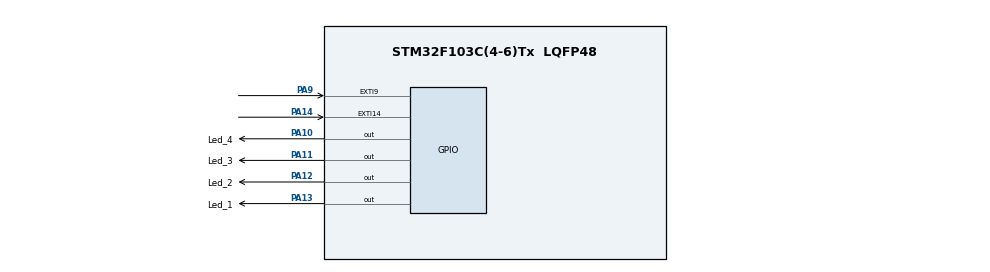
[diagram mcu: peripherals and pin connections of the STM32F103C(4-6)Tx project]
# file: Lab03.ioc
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Mcu.Family=STM32F1
Mcu.Name=STM32F103C(4-6)Tx
Mcu.Package=LQFP48
NVIC.EXTI15_10_IRQn=true\:0\:0\:false\:true\:true\:1\:true\:true
NVIC.EXTI9_5_IRQn=true\:0\:0\:false\:true\:true\:2\:true\:true
NVIC.PriorityGroup=NVIC_PRIORITYGROUP_4
PA10.GPIO_Label=Led_4
PA10.Signal=GPIO_Output
PA11.GPIO_Label=Led_3
PA11.Signal=GPIO_Output
PA12.GPIO_Label=Led_2
PA12.Signal=GPIO_Output
PA13.GPIO_Label=Led_1
PA13.Signal=GPIO_Output
PA14.GPIO_ModeDefaultEXTI=GPIO_MODE_IT_FALLING
PA14.Signal=GPXTI14
PA9.GPIO_ModeDefaultEXTI=GPIO_MODE_IT_FALLING
PA9.Signal=GPXTI9
ProjectManager.HeapSize=0x200
ProjectManager.StackSize=0x400
ProjectManager.TargetToolchain=STM32CubeIDE
RCC.APB1Freq_Value=8000000
RCC.APB2Freq_Value=8000000
VP_SYS_VS_ND.Mode=No_Debug
board=custom

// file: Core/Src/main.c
/* USER CODE BEGIN Header */
/**
  ******************************************************************************
  * @file           : main.c
  * @brief          : Main program body
  ******************************************************************************
  * @attention
  *
  * Copyright (c) 2022 STMicroelectronics.
  * All rights reserved.
  *
  * This software is licensed under terms that can be found in the LICENSE file
  * in the root directory of this software component.
  * If no LICENSE file comes with this software, it is provided AS-IS.
  *
  ******************************************************************************
  */
/* USER CODE END Header */
#include "main.h"
#include "gpio.h"

/* USER CODE BEGIN PV */
int count = 0;
/* USER CODE END PV */

void SystemClock_Config(void);
static void MX_NVIC_Init(void);

int main(void)
{

  /* MCU Configuration--------------------------------------------------------*/

  /* Reset of all peripherals, Initializes the Flash interface and the Systick. */
  HAL_Init();

  /* Configure the system clock */
  SystemClock_Config();

  /* Initialize all configured peripherals */
  MX_GPIO_Init();

  /* Initialize interrupts */
  MX_NVIC_Init();

  /* Infinite loop */
  while (1)
  {

  }
}

void SystemClock_Config(void)
{
  RCC_OscInitTypeDef RCC_OscInitStruct = {0};
  RCC_ClkInitTypeDef RCC_ClkInitStruct = {0};

  /** Initializes the RCC Oscillators according to the specified parameters
  * in the RCC_OscInitTypeDef structure.
  */
  RCC_OscInitStruct.OscillatorType = RCC_OSCILLATORTYPE_HSI;
  RCC_OscInitStruct.HSIState = RCC_HSI_ON;
  RCC_OscInitStruct.HSICalibrationValue = RCC_HSICALIBRATION_DEFAULT;
  RCC_OscInitStruct.PLL.PLLState = RCC_PLL_NONE;
  if (HAL_RCC_OscConfig(&RCC_OscInitStruct) != HAL_OK)
  {
    Error_Handler();
  }
  /** Initializes the CPU, AHB and APB buses clocks
  */
  RCC_ClkInitStruct.ClockType = RCC_CLOCKTYPE_HCLK|RCC_CLOCKTYPE_SYSCLK
                              |RCC_CLOCKTYPE_PCLK1|RCC_CLOCKTYPE_PCLK2;
  RCC_ClkInitStruct.SYSCLKSource = RCC_SYSCLKSOURCE_HSI;
  RCC_ClkInitStruct.AHBCLKDivider = RCC_SYSCLK_DIV1;
  RCC_ClkInitStruct.APB1CLKDivider = RCC_HCLK_DIV1;
  RCC_ClkInitStruct.APB2CLKDivider = RCC_HCLK_DIV1;

  if (HAL_RCC_ClockConfig(&RCC_ClkInitStruct, FLASH_LATENCY_0) != HAL_OK)
  {
    Error_Handler();
  }
}

/**
  * @brief NVIC Configuration.
  * @retval None
  */
static void MX_NVIC_Init(void)
{
  /* EXTI15_10_IRQn interrupt configuration */
  HAL_NVIC_SetPriority(EXTI15_10_IRQn, 0, 0);
  HAL_NVIC_EnableIRQ(EXTI15_10_IRQn);
  /* EXTI9_5_IRQn interrupt configuration */
  HAL_NVIC_SetPriority(EXTI9_5_IRQn, 0, 0);
  HAL_NVIC_EnableIRQ(EXTI9_5_IRQn);
}

/* USER CODE BEGIN 4 */
void HAL_GPIO_EXTI_Callback(uint16_t GPIO_Pin)
{
	if (GPIO_Pin == GPIO_PIN_14)
	{
		count++;
		if (count == 1)
		{
			HAL_GPIO_TogglePin(Led_1_GPIO_Port, Led_1_Pin);
		}
		if (count == 2)
		{
			HAL_GPIO_TogglePin(Led_2_GPIO_Port, Led_2_Pin);
		}
		if (count == 3)
		{
			HAL_GPIO_TogglePin(Led_3_GPIO_Port, Led_3_Pin);
		}
		if (count == 4)
		{
			HAL_GPIO_TogglePin(Led_4_GPIO_Port, Led_4_Pin);
		}

		if (count >= 5)
		{
			count = 0;
			HAL_GPIO_TogglePin(Led_1_GPIO_Port, Led_1_Pin);
			HAL_GPIO_TogglePin(Led_2_GPIO_Port, Led_2_Pin);
			HAL_GPIO_TogglePin(Led_3_GPIO_Port, Led_3_Pin);
			HAL_GPIO_TogglePin(Led_4_GPIO_Port, Led_4_Pin);
		}
	}
	if (GPIO_Pin == GPIO_PIN_9)
		{
			if (count == 1)
			{
				HAL_GPIO_TogglePin(Led_1_GPIO_Port, Led_1_Pin);
				count--;
			}
			if (count == 2)
			{
				HAL_GPIO_TogglePin(Led_2_GPIO_Port, Led_2_Pin);
				count --;
			}
			if (count == 3)
			{
				HAL_GPIO_TogglePin(Led_3_GPIO_Port, Led_3_Pin);
				count--;
			}
			if (count == 4)
			{
				HAL_GPIO_TogglePin(Led_4_GPIO_Port, Led_4_Pin);
				count--;
			}
		}
}
/* USER CODE END 4 */

void Error_Handler(void)
{
  __disable_irq();
  while (1)
  {
  }
}
